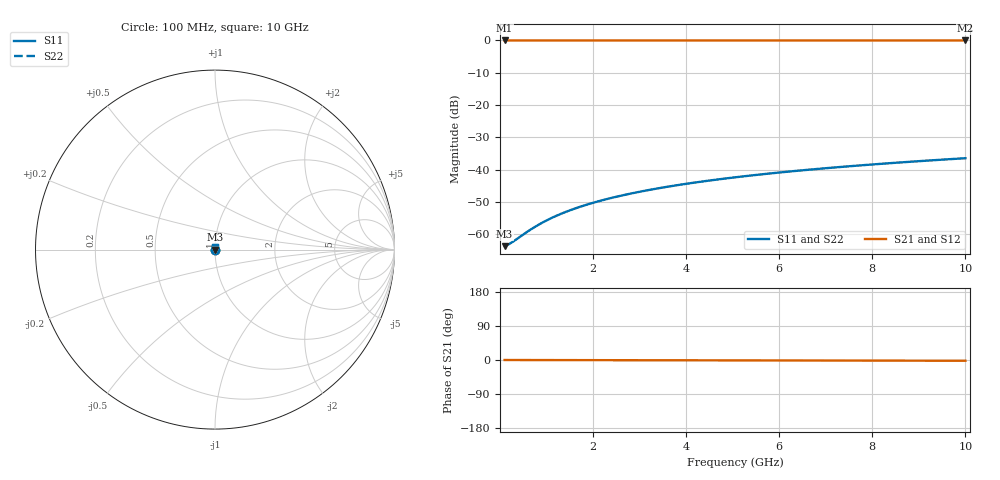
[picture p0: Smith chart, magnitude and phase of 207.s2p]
# Hz S RI R 50.00
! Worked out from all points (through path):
!   100 points, 100 MHz to 10 GHz, reference 50 ohm
!   highest |S21| = -0.01 dB at 100 MHz (marker M1); lowest = 0.0 dB at 10 GHz (marker M2)
!   lowest |S11| = -63.6 dB at 100 MHz (marker M3), VSWR 1.00, Z = 50.1 + j0.0151 ohm
!   |S11| at or under -10 dB: start of sweep to end of sweep
!   |S22| runs from -63.6 to -36.4 dB; largest |S21 - S12| = 0
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1e8  0.000642 0.000151  0.9994 -0.000344  0.9994 -0.000344  0.000642 0.000151
2e8  0.000646 0.000301  0.9994 -0.000689  0.9994 -0.000689  0.000646 0.000301
3e8  0.00065 0.000452  0.9993 -0.00103  0.9993 -0.00103  0.00065 0.000452
6e8  0.000657 0.000903  0.9993 -0.00207  0.9993 -0.00207  0.000657 0.000903
7e8  0.00066 0.00105  0.9993 -0.00241  0.9993 -0.00241  0.00066 0.00105
8e8  0.000662 0.0012  0.9993 -0.00276  0.9993 -0.00276  0.000662 0.0012
1e9  0.000667 0.0015  0.9993 -0.00345  0.9993 -0.00345  0.000667 0.0015
1.2e9  0.000671 0.00181  0.9993 -0.00413  0.9993 -0.00413  0.000671 0.00181
1.4e9  0.000676 0.00211  0.9993 -0.00482  0.9993 -0.00482  0.000676 0.00211
1.6e9  0.000681 0.00241  0.9993 -0.00551  0.9993 -0.00551  0.000681 0.00241
1.8e9  0.000686 0.00271  0.9993 -0.0062  0.9993 -0.0062  0.000686 0.00271
2.1e9  0.000695 0.00316  0.9993 -0.00724  0.9993 -0.00724  0.000695 0.00316
2.5e9  0.000707 0.00376  0.9993 -0.00861  0.9993 -0.00861  0.000707 0.00376
2.9e9  0.000721 0.00436  0.9993 -0.00999  0.9993 -0.00999  0.000721 0.00436
3.4e9  0.000741 0.00512  0.9992 -0.0117  0.9992 -0.0117  0.000741 0.00512
4.2e9  0.000777 0.00632  0.9992 -0.0145  0.9992 -0.0145  0.000777 0.00632
5.1e9  0.000826 0.00767  0.9991 -0.0176  0.9991 -0.0176  0.000826 0.00767
5.9e9  0.000876 0.00888  0.999 -0.0203  0.999 -0.0203  0.000876 0.00888
6.7e9  0.000932 0.0101  0.999 -0.0231  0.999 -0.0231  0.000932 0.0101
7.5e9  0.000995 0.0113  0.9989 -0.0259  0.9989 -0.0259  0.000995 0.0113
8.4e9  0.00107 0.0126  0.9988 -0.029  0.9988 -0.029  0.00107 0.0126
1e10  0.00124 0.0151  0.9986 -0.0345  0.9986 -0.0345  0.00124 0.0151
